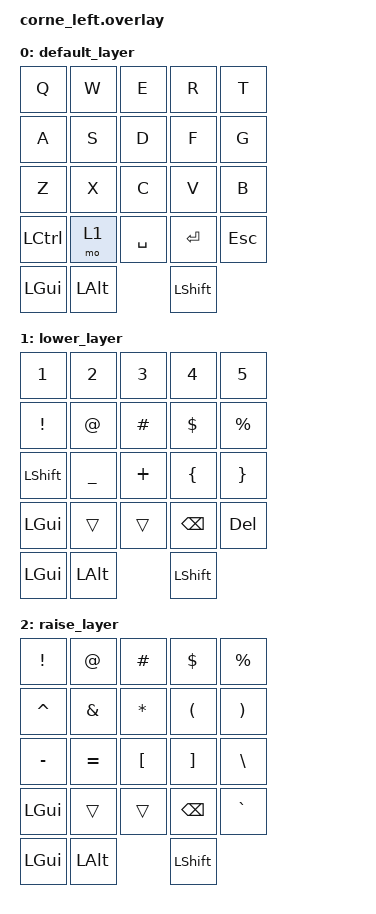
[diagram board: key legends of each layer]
/ {
    // Define the key matrix for the left half
    corne_left {
        compatible = "zmk,keyboard";
        label = "Left Half";

        // Matrix configuration
        matrix {
            rows = <4>;
            cols = <5>;
            row-gpios = <&gpio0 2 GPIO_ACTIVE_LOW>, <&gpio0 3 GPIO_ACTIVE_LOW>, <&gpio0 4 GPIO_ACTIVE_LOW>, <&gpio1 10 GPIO_ACTIVE_LOW>;
            col-gpios = <&gpio0 28 GPIO_ACTIVE_LOW>, <&gpio0 29 GPIO_ACTIVE_LOW>,
                        <&gpio0 30 GPIO_ACTIVE_LOW>, <&gpio0 31 GPIO_ACTIVE_LOW>, <&gpio1 0 GPIO_ACTIVE_LOW>;
        };

        // Define the keymap for the left half
        keymap {
            compatible = "zmk,keymap";

            default_layer {
                bindings = <
                    &kp Q &kp W &kp E &kp R &kp T
                    &kp A &kp S &kp D &kp F &kp G
                    &kp Z &kp X &kp C &kp V &kp B
                    &kp LCTL &mo 1 &kp SPC &kp RET &kp ESC
                    &kp LGUI &kp LALT &kp LSHFT
                >;
            };

            lower_layer {
                bindings = <
                    &kp 1 &kp 2 &kp 3 &kp 4 &kp 5
                    &kp EXCL &kp AT &kp HASH &kp DLLR &kp PRCNT
                    &kp LSHFT &kp UNDER &kp PLUS &kp LBRC &kp RBRC
                    &kp LGUI &trans &trans &kp BSPC &kp DEL
                    &kp LGUI &kp LALT &kp LSHFT
                >;
            };

            raise_layer {
                bindings = <
                    &kp EXCL &kp AT &kp HASH &kp DLLR &kp PRCNT
                    &kp CARET &kp AMPS &kp ASTRK &kp LPAR &kp RPAR
                    &kp MINUS &kp EQUAL &kp LBKT &kp RBKT &kp BSLH
                    &kp LGUI &trans &trans &kp BSPC &kp GRAVE
                    &kp LGUI &kp LALT &kp LSHFT
                >;
            };
        };
    };
};

